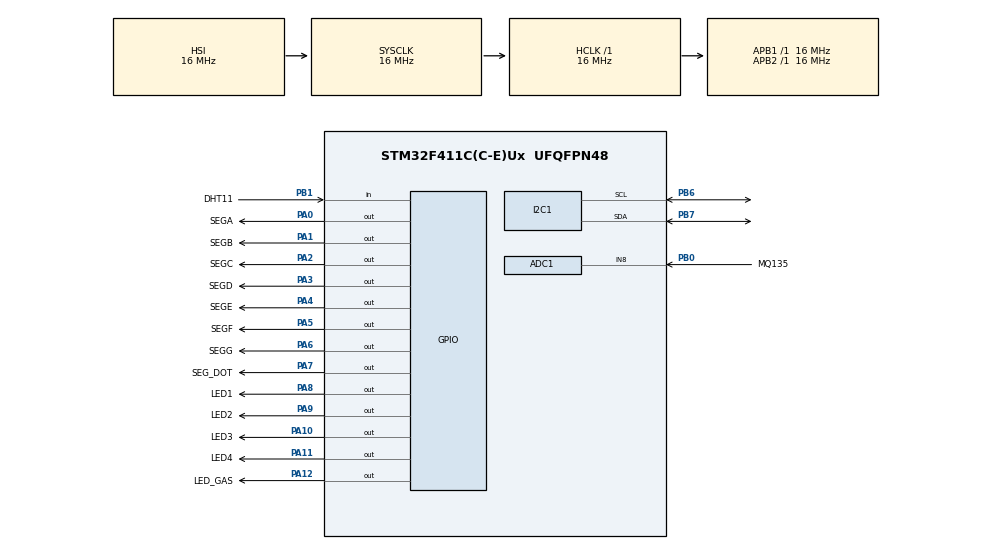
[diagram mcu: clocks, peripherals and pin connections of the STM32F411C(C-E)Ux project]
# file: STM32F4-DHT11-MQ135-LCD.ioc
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Mcu.Family=STM32F4
RCC.CortexFreq_Value=16000000
ADC1.ContinuousConvMode=ENABLE
ADC1.SamplingTime-6\#ChannelRegularConversion=ADC_SAMPLETIME_3CYCLES
PA6.GPIO_Label=SEGG
PB0.GPIO_Label=MQ135
ProjectManager.StackSize=0x400
PA12.Signal=GPIO_Output
TIM3.Period=62999
PB6.Signal=I2C1_SCL
PB6.Mode=I2C
RCC.AHBFreq_Value=16000000
RCC.HSE_VALUE=25000000
ADC1.Channel-6\#ChannelRegularConversion=ADC_CHANNEL_8
PA14.Mode=Serial_Wire
TIM3.Prescaler=62999
PB1.GPIO_Label=DHT11
NVIC.TIM2_IRQn=true\:0\:0\:false\:false\:true\:true\:true
PA10.GPIO_Label=LED3
SH.ADCx_IN8.0=ADC1_IN8,IN8
PB7.Signal=I2C1_SDA
PA8.Signal=GPIO_Output
Mcu.Package=UFQFPN48
TIM2.Prescaler=15999
PA6.Signal=GPIO_Output
PB1.Signal=GPIO_Input
PA2.GPIO_Label=SEGC
PA10.Signal=GPIO_Output
RCC.APB1TimFreq_Value=16000000
ADC1.Rank-6\#ChannelRegularConversion=1
PA4.GPIO_Label=SEGE
VP_TIM3_VS_ClockSourceINT.Mode=Internal
PA3.Signal=GPIO_Output
PA9.GPIO_Label=LED2
PA11.GPIO_Label=LED4
PA12.GPIO_Label=LED_GAS
PA0-WKUP.GPIO_Label=SEGA
PA0-WKUP.Signal=GPIO_Output
PA13.Signal=SYS_JTMS-SWDIO
PA8.GPIO_Label=LED1
ProjectManager.TargetToolchain=STM32CubeIDE
PA9.Signal=GPIO_Output
RCC.LSE_VALUE=32768
PA1.Signal=GPIO_Output
PA5.Signal=GPIO_Output
board=custom
RCC.VCOOutputFreq_Value=192000000
NVIC.TIM3_IRQn=true\:0\:0\:false\:false\:true\:true\:true
RCC.APB2Freq_Value=16000000
VP_TIM2_VS_ClockSourceINT.Mode=Internal
PA1.GPIO_Label=SEGB
TIM2.Period=999999999
PA13.Mode=Serial_Wire
Mcu.Name=STM32F411C(C-E)Ux
PA2.Signal=GPIO_Output
PA4.Signal=GPIO_Output
RCC.SYSCLKFreq_VALUE=16000000
PA7.GPIO_Label=SEG_DOT
ADC1.master=1
PA5.GPIO_Label=SEGF
PB7.Mode=I2C
PA11.Signal=GPIO_Output
PA14.Signal=SYS_JTCK-SWCLK
ProjectManager.HeapSize=0x200
RCC.HSI_VALUE=16000000
NVIC.PriorityGroup=NVIC_PRIORITYGROUP_4
ADC1.NbrOfConversionFlag=1
RCC.APB1Freq_Value=16000000
PB0.Signal=ADCx_IN8
PA3.GPIO_Label=SEGD
PA7.Signal=GPIO_Output

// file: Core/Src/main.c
/* USER CODE BEGIN Header */
/**
  ******************************************************************************
  * @file           : main.c
  * @brief          : Main program body
  ******************************************************************************
  * @attention
  *
  * <h2><center>&copy; Copyright (c) 2021 STMicroelectronics.
  * All rights reserved.</center></h2>
  *
  * This software component is licensed by ST under BSD 3-Clause license,
  * the "License"; You may not use this file except in compliance with the
  * License. You may obtain a copy of the License at:
  *                        opensource.org/licenses/BSD-3-Clause
  *
  ******************************************************************************
  */
/* USER CODE END Header */
#include "main.h"

/* USER CODE BEGIN Includes */
#include "stdio.h"
/* USER CODE END Includes */

/* USER CODE BEGIN PD */
/***************************** LCD i2c ***************************************/
/* LCD control pins */
#define PIN_RS                 (1 << 0)
#define PIN_EN                 (1 << 2)
#define BACKLIGHT              (1 << 3)
/* I2C Module Address, this is Hardware dependent */
#define I2C_SLAVE_ADDRESS      0x4E
/*LCD Commands*/
#define LCD_FUNCTION_SET1      0x33
#define LCD_FUNCTION_SET2      0x32
#define LCD_4BIT_2LINE_MODE    0x28
#define LCD_DISP_CURS_ON       0x0E
#define LCD_DISP_ON_CURS_OFF   0x0C  //Display on, cursor off
#define LCD_DISPLAY_OFF        0x08
#define LCD_DISPLAY_ON         0x04
#define LCD_CLEAR_DISPLAY      0x01
#define LCD_ENTRY_MODE_SET     0x04
#define LCD_INCREMENT_CURSER   0x06
#define LCD_SET_ROW1_COL1      0x80  //Force cursor to beginning ( 1st line)
#define LCD_SET_ROW2_COL1      0xC0  //Force cursor to beginning ( 2nd line)
#define LCD_MOVE_DISPLAY_LEFT  0x18
#define LCD_MOVE_DISPLAY_RIGHT 0x1C
/***************************** LCD i2c ***************************************/
/* USER CODE END PD */

/* USER CODE BEGIN PM */
/***************************** template ***************************************/
/***************************** template ***************************************/
/* USER CODE END PM */

ADC_HandleTypeDef hadc1;

I2C_HandleTypeDef hi2c1;

TIM_HandleTypeDef htim2;
TIM_HandleTypeDef htim3;

/* USER CODE BEGIN PV */
/***************************** delay ***************************************/
uint16_t usDelayTime = 0;
/***************************** delay ***************************************/
/***************************** DHT11 ***************************************/
uint8_t DHT11_RhByte1;
uint8_t DHT11_RhByte2;
uint8_t DHT11_TempByte1;
uint8_t DHT11_TempByte2;
uint16_t DHT11_Sum;
uint16_t DHT11_Temperature=0;
uint16_t DHT11_Humidity=0;
uint8_t Presence=0;
/***************************** DHT11 ***************************************/

/* USER CODE END PV */

void SystemClock_Config(void);
static void MX_GPIO_Init(void);
static void MX_ADC1_Init(void);
static void MX_I2C1_Init(void);
static void MX_TIM2_Init(void);
static void MX_TIM3_Init(void);

/* USER CODE BEGIN 0 */
/***************************** TIMER ***************************************/
void HAL_TIM_PeriodElapsedCallback(TIM_HandleTypeDef *htim)
{
	if (htim->Instance == TIM2)
	{
		usDelayTime++;
	}
}
/***************************** TIMER ***************************************/

/***************************** delay ***************************************/
void TIMER_DelayUs(uint32_t time)
{
	HAL_TIM_Base_Start_IT(&htim2);
	usDelayTime = 0;
	while(usDelayTime < time)
	{
		// do nothing
	}
	HAL_TIM_Base_Stop_IT(&htim2);
}
/***************************** delay ***************************************/

/***************************** DHT11 ***************************************/
// Chuyen pin DHT11 sang trang thai output
void Set_Pin_Output (GPIO_TypeDef *GPIOx, uint16_t GPIO_Pin)
{
	GPIO_InitTypeDef GPIO_InitStruct = {0};
	GPIO_InitStruct.Pin = GPIO_Pin;
	GPIO_InitStruct.Mode = GPIO_MODE_OUTPUT_PP;
	GPIO_InitStruct.Speed = GPIO_SPEED_FREQ_LOW;
	HAL_GPIO_Init(GPIOx, &GPIO_InitStruct);
}

// Chuyen pin DHT11 sang trang thai input
void Set_Pin_Input (GPIO_TypeDef *GPIOx, uint16_t GPIO_Pin)
{
	GPIO_InitTypeDef GPIO_InitStruct = {0};
	GPIO_InitStruct.Pin = GPIO_Pin;
	GPIO_InitStruct.Mode = GPIO_MODE_INPUT;
	GPIO_InitStruct.Pull = GPIO_PULLUP;
	HAL_GPIO_Init(GPIOx, &GPIO_InitStruct);
}

// Khoi tao giao tiep voi DHT11
void DHT11_Start(void)
{
	Set_Pin_Output(DHT11_GPIO_Port, DHT11_Pin);
	HAL_GPIO_WritePin(DHT11_GPIO_Port, DHT11_Pin, 0);
	TIMER_DelayUs(18000);   // wait for 18ms
	HAL_GPIO_WritePin (DHT11_GPIO_Port, DHT11_Pin, 1);   // pull the pin high
    TIMER_DelayUs(20);   // wait for 20us
	Set_Pin_Input(DHT11_GPIO_Port, DHT11_Pin);    // set as input
}

// Kiem tra phan hoi tu DHT11
uint8_t DHT11_CheckResponse(void)
{
	uint8_t response = 0;
	TIMER_DelayUs(40);
	if(!(HAL_GPIO_ReadPin(DHT11_GPIO_Port, DHT11_Pin)))
	{
		TIMER_DelayUs(80);
		if ((HAL_GPIO_ReadPin(DHT11_GPIO_Port, DHT11_Pin))) response = 1;
		else response = -1; // 255
	}
	while((HAL_GPIO_ReadPin(DHT11_GPIO_Port, DHT11_Pin)));   // wait for the pin to go low
	return response;
}

// Doc 1 byte tu DHT11
uint8_t DHT11_Read(void)
{
	uint8_t i,j;
	for (j=0;j<8;j++)
	{
		while (!(HAL_GPIO_ReadPin(DHT11_GPIO_Port, DHT11_Pin)));   // wait for the pin to go high
		TIMER_DelayUs(40);   // wait for 40 us
		if (!(HAL_GPIO_ReadPin(DHT11_GPIO_Port, DHT11_Pin)))   // if the pin is low
		{
			i&= ~(1<<(7-j));   // write 0
		}
		else i|= (1<<(7-j));  // if the pin is high, write 1
		while ((HAL_GPIO_ReadPin(DHT11_GPIO_Port, DHT11_Pin)));  // wait for the pin to go low
	}
	return i;
}
/***************************** DHT11 ***************************************/

/***************************** LCD1602 I2C ***************************************/
void LCD_Send_Cmd(uint8_t cmd)
{
	uint8_t data_u, data_l;
	uint8_t data_u_tx[2], data_l_tx[2];

	/*Store upper nibble*/
	data_u = (cmd & 0xF0);

	/*Store lower nibble*/
	data_l = ((cmd << 4) & 0xF0);

	/* Construct upper byte-> compatible for LCD*/
	data_u_tx[0] = data_u|BACKLIGHT|PIN_EN;
	data_u_tx[1] = data_u|BACKLIGHT;

	/* Construct lower byte-> compatible for LCD*/
	data_l_tx[0] = data_l|BACKLIGHT|PIN_EN;
	data_l_tx[1] = data_l|BACKLIGHT;

	/* Transmit upper nibble using I2C APIs*/
	if(HAL_I2C_IsDeviceReady(& hi2c1, I2C_SLAVE_ADDRESS, 1, 10) == HAL_OK)
		HAL_I2C_Master_Transmit(& hi2c1,I2C_SLAVE_ADDRESS, data_u_tx, 2, 100);

	/*Provide a delay */
	HAL_Delay(5);

	/* Transmit lower nibble using I2C APIs*/
	if(HAL_I2C_IsDeviceReady(& hi2c1, I2C_SLAVE_ADDRESS, 1, 10) == HAL_OK)
		HAL_I2C_Master_Transmit(& hi2c1,I2C_SLAVE_ADDRESS, data_l_tx, 2, 100);

	/*Provide a delay */
	HAL_Delay(5);
}

void LCD_Send_Data(uint8_t data)
{
	uint8_t data_u, data_l;
	uint8_t data_u_tx[2], data_l_tx[2];

	/*Store upper nibble*/
	data_u = (data & 0xF0);

	/*Store lower nibble*/
	data_l = ((data << 4) & 0xF0);

	/* Construct upper byte-> compatible for LCD*/
	data_u_tx[0] = data_u|BACKLIGHT|PIN_EN|PIN_RS;
	data_u_tx[1] = data_u|BACKLIGHT|PIN_RS;

	/* Construct lower byte-> compatible for LCD*/
	data_l_tx[0] = data_l|BACKLIGHT|PIN_EN|PIN_RS;
	data_l_tx[1] = data_l|BACKLIGHT|PIN_RS;

	/* Transmit upper nibble using I2C APIs*/
	if(HAL_I2C_IsDeviceReady(& hi2c1, I2C_SLAVE_ADDRESS, 1, 10) == HAL_OK)
		HAL_I2C_Master_Transmit(& hi2c1,I2C_SLAVE_ADDRESS, data_u_tx, 2, 100);

	/*Provide a delay */
	//HAL_Delay(1);

	/* Transmit lower nibble using I2C APIs*/
	if(HAL_I2C_IsDeviceReady(& hi2c1, I2C_SLAVE_ADDRESS, 1, 10) == HAL_OK)
		HAL_I2C_Master_Transmit(& hi2c1,I2C_SLAVE_ADDRESS, data_l_tx, 2, 100);

    /*Provide a delay */
    HAL_Delay(5);
}

void LCD_Init(void)
{

	/* Wait for 15ms */
	HAL_Delay(15);

	/*Function Set - As per HD44780U*/
	LCD_Send_Cmd(LCD_FUNCTION_SET1);

	/*Function Set -As per HD44780U*/
	LCD_Send_Cmd(LCD_FUNCTION_SET2);

	/*Set 4bit mode and 2 lines */
	LCD_Send_Cmd(LCD_4BIT_2LINE_MODE);

	/*Display on, cursor off*/
	LCD_Send_Cmd(0x0C);

	/* SET Row1 and Col1 (1st Line) */
	LCD_Send_Cmd(0x80);

	/*Clear Display*/
	LCD_Send_Cmd(LCD_CLEAR_DISPLAY);

}

void LCD_Send_String(char *str)
{
	while (*str)
	{
		LCD_Send_Data(*str++);
	}
}

// Hien thi thong tin nhiet do va do am len lcd
void LCD_Display(void)
{
	char tempString[4];
	LCD_Send_Cmd(LCD_CLEAR_DISPLAY);
	LCD_Send_Cmd(LCD_SET_ROW1_COL1);
	sprintf(tempString, "%u", DHT11_Temperature);
	LCD_Send_String("Temp: ");
	LCD_Send_String(tempString);
	LCD_Send_String("*C");
	LCD_Send_Cmd(LCD_SET_ROW2_COL1);
	sprintf(tempString, "%u", DHT11_Humidity);
	LCD_Send_String("Humid: ");
	LCD_Send_String(tempString);
	LCD_Send_String("%");
}

/***************************** LCD1602 I2C ***************************************/

/***************************** MQ135 ***************************************/
/***************************** MQ135 ***************************************/

/***************************** LED 7 THANH ***************************************/
/***************************** LED 7 THANH ***************************************/

/* USER CODE END 0 */

int main(void)
{

  /* MCU Configuration--------------------------------------------------------*/

  /* Reset of all peripherals, Initializes the Flash interface and the Systick. */
  HAL_Init();

  /* Configure the system clock */
  SystemClock_Config();

  /* Initialize all configured peripherals */
  MX_GPIO_Init();
  MX_ADC1_Init();
  MX_I2C1_Init();
  MX_TIM2_Init();
  MX_TIM3_Init();
  /* USER CODE BEGIN 2 */
//  LCD_Init();
  /* USER CODE END 2 */

  /* Infinite loop */
  /* USER CODE BEGIN WHILE */
  while (1)
  {
	  // Doc cam bien DHT11
//	  DHT11_Start();
//	  Presence = DHT11_CheckResponse();
//	  DHT11_RhByte1=DHT11_Read();
//	  DHT11_RhByte2 = DHT11_Read();
//	  DHT11_TempByte1 = DHT11_Read();
//	  DHT11_TempByte2 = DHT11_Read();
//	  DHT11_Sum = DHT11_Read();
//	  DHT11_Temperature = DHT11_TempByte1;
//	  DHT11_Humidity = DHT11_RhByte1;
	  //  Hien thi lcd i2c
//	  LCD_Display();
	  HAL_GPIO_WritePin(LED_GAS_GPIO_Port, LED_GAS_Pin, GPIO_PIN_RESET);
	  HAL_Delay(1000);
	  HAL_GPIO_WritePin(LED_GAS_GPIO_Port, LED_GAS_Pin, GPIO_PIN_SET);
	  HAL_Delay(1000);
    /* USER CODE END WHILE */

  }
}

void SystemClock_Config(void)
{
  RCC_OscInitTypeDef RCC_OscInitStruct = {0};
  RCC_ClkInitTypeDef RCC_ClkInitStruct = {0};

  /** Configure the main internal regulator output voltage
  */
  __HAL_RCC_PWR_CLK_ENABLE();
  __HAL_PWR_VOLTAGESCALING_CONFIG(PWR_REGULATOR_VOLTAGE_SCALE1);
  /** Initializes the RCC Oscillators according to the specified parameters
  * in the RCC_OscInitTypeDef structure.
  */
  RCC_OscInitStruct.OscillatorType = RCC_OSCILLATORTYPE_HSI;
  RCC_OscInitStruct.HSIState = RCC_HSI_ON;
  RCC_OscInitStruct.HSICalibrationValue = RCC_HSICALIBRATION_DEFAULT;
  RCC_OscInitStruct.PLL.PLLState = RCC_PLL_NONE;
  if (HAL_RCC_OscConfig(&RCC_OscInitStruct) != HAL_OK)
  {
    Error_Handler();
  }
  /** Initializes the CPU, AHB and APB buses clocks
  */
  RCC_ClkInitStruct.ClockType = RCC_CLOCKTYPE_HCLK|RCC_CLOCKTYPE_SYSCLK
                              |RCC_CLOCKTYPE_PCLK1|RCC_CLOCKTYPE_PCLK2;
  RCC_ClkInitStruct.SYSCLKSource = RCC_SYSCLKSOURCE_HSI;
  RCC_ClkInitStruct.AHBCLKDivider = RCC_SYSCLK_DIV1;
  RCC_ClkInitStruct.APB1CLKDivider = RCC_HCLK_DIV1;
  RCC_ClkInitStruct.APB2CLKDivider = RCC_HCLK_DIV1;

  if (HAL_RCC_ClockConfig(&RCC_ClkInitStruct, FLASH_LATENCY_0) != HAL_OK)
  {
    Error_Handler();
  }
}

static void MX_ADC1_Init(void)
{

  ADC_ChannelConfTypeDef sConfig = {0};

  /** Configure the global features of the ADC (Clock, Resolution, Data Alignment and number of conversion)
  */
  hadc1.Instance = ADC1;
  hadc1.Init.ClockPrescaler = ADC_CLOCK_SYNC_PCLK_DIV2;
  hadc1.Init.Resolution = ADC_RESOLUTION_12B;
  hadc1.Init.ScanConvMode = DISABLE;
  hadc1.Init.ContinuousConvMode = ENABLE;
  hadc1.Init.DiscontinuousConvMode = DISABLE;
  hadc1.Init.ExternalTrigConvEdge = ADC_EXTERNALTRIGCONVEDGE_NONE;
  hadc1.Init.ExternalTrigConv = ADC_SOFTWARE_START;
  hadc1.Init.DataAlign = ADC_DATAALIGN_RIGHT;
  hadc1.Init.NbrOfConversion = 1;
  hadc1.Init.DMAContinuousRequests = DISABLE;
  hadc1.Init.EOCSelection = ADC_EOC_SINGLE_CONV;
  if (HAL_ADC_Init(&hadc1) != HAL_OK)
  {
    Error_Handler();
  }
  /** Configure for the selected ADC regular channel its corresponding rank in the sequencer and its sample time.
  */
  sConfig.Channel = ADC_CHANNEL_8;
  sConfig.Rank = 1;
  sConfig.SamplingTime = ADC_SAMPLETIME_3CYCLES;
  if (HAL_ADC_ConfigChannel(&hadc1, &sConfig) != HAL_OK)
  {
    Error_Handler();
  }

}

static void MX_I2C1_Init(void)
{

  hi2c1.Instance = I2C1;
  hi2c1.Init.ClockSpeed = 100000;
  hi2c1.Init.DutyCycle = I2C_DUTYCYCLE_2;
  hi2c1.Init.OwnAddress1 = 0;
  hi2c1.Init.AddressingMode = I2C_ADDRESSINGMODE_7BIT;
  hi2c1.Init.DualAddressMode = I2C_DUALADDRESS_DISABLE;
  hi2c1.Init.OwnAddress2 = 0;
  hi2c1.Init.GeneralCallMode = I2C_GENERALCALL_DISABLE;
  hi2c1.Init.NoStretchMode = I2C_NOSTRETCH_DISABLE;
  if (HAL_I2C_Init(&hi2c1) != HAL_OK)
  {
    Error_Handler();
  }

}

static void MX_TIM2_Init(void)
{

  TIM_ClockConfigTypeDef sClockSourceConfig = {0};
  TIM_MasterConfigTypeDef sMasterConfig = {0};

  htim2.Instance = TIM2;
  htim2.Init.Prescaler = 15999;
  htim2.Init.CounterMode = TIM_COUNTERMODE_UP;
  htim2.Init.Period = 999999999;
  htim2.Init.ClockDivision = TIM_CLOCKDIVISION_DIV1;
  htim2.Init.AutoReloadPreload = TIM_AUTORELOAD_PRELOAD_DISABLE;
  if (HAL_TIM_Base_Init(&htim2) != HAL_OK)
  {
    Error_Handler();
  }
  sClockSourceConfig.ClockSource = TIM_CLOCKSOURCE_INTERNAL;
  if (HAL_TIM_ConfigClockSource(&htim2, &sClockSourceConfig) != HAL_OK)
  {
    Error_Handler();
  }
  sMasterConfig.MasterOutputTrigger = TIM_TRGO_RESET;
  sMasterConfig.MasterSlaveMode = TIM_MASTERSLAVEMODE_DISABLE;
  if (HAL_TIMEx_MasterConfigSynchronization(&htim2, &sMasterConfig) != HAL_OK)
  {
    Error_Handler();
  }

}

static void MX_TIM3_Init(void)
{

  TIM_ClockConfigTypeDef sClockSourceConfig = {0};
  TIM_MasterConfigTypeDef sMasterConfig = {0};

  htim3.Instance = TIM3;
  htim3.Init.Prescaler = 62999;
  htim3.Init.CounterMode = TIM_COUNTERMODE_UP;
  htim3.Init.Period = 62999;
  htim3.Init.ClockDivision = TIM_CLOCKDIVISION_DIV1;
  htim3.Init.AutoReloadPreload = TIM_AUTORELOAD_PRELOAD_DISABLE;
  if (HAL_TIM_Base_Init(&htim3) != HAL_OK)
  {
    Error_Handler();
  }
  sClockSourceConfig.ClockSource = TIM_CLOCKSOURCE_INTERNAL;
  if (HAL_TIM_ConfigClockSource(&htim3, &sClockSourceConfig) != HAL_OK)
  {
    Error_Handler();
  }
  sMasterConfig.MasterOutputTrigger = TIM_TRGO_RESET;
  sMasterConfig.MasterSlaveMode = TIM_MASTERSLAVEMODE_DISABLE;
  if (HAL_TIMEx_MasterConfigSynchronization(&htim3, &sMasterConfig) != HAL_OK)
  {
    Error_Handler();
  }

}

static void MX_GPIO_Init(void)
{
  GPIO_InitTypeDef GPIO_InitStruct = {0};

  /* GPIO Ports Clock Enable */
  __HAL_RCC_GPIOA_CLK_ENABLE();
  __HAL_RCC_GPIOB_CLK_ENABLE();

  /*Configure GPIO pin Output Level */
  HAL_GPIO_WritePin(GPIOA, SEGA_Pin|SEGB_Pin|SEGC_Pin|SEGD_Pin
                          |SEGE_Pin|SEGF_Pin|SEGG_Pin|SEG_DOT_Pin
                          |LED1_Pin|LED2_Pin|LED3_Pin|LED4_Pin
                          |LED_GAS_Pin, GPIO_PIN_RESET);

  /*Configure GPIO pins : SEGA_Pin SEGB_Pin SEGC_Pin SEGD_Pin
                           SEGE_Pin SEGF_Pin SEGG_Pin SEG_DOT_Pin
                           LED1_Pin LED2_Pin LED3_Pin LED4_Pin
                           LED_GAS_Pin */
  GPIO_InitStruct.Pin = SEGA_Pin|SEGB_Pin|SEGC_Pin|SEGD_Pin
                          |SEGE_Pin|SEGF_Pin|SEGG_Pin|SEG_DOT_Pin
                          |LED1_Pin|LED2_Pin|LED3_Pin|LED4_Pin
                          |LED_GAS_Pin;
  GPIO_InitStruct.Mode = GPIO_MODE_OUTPUT_PP;
  GPIO_InitStruct.Pull = GPIO_NOPULL;
  GPIO_InitStruct.Speed = GPIO_SPEED_FREQ_LOW;
  HAL_GPIO_Init(GPIOA, &GPIO_InitStruct);

  /*Configure GPIO pin : DHT11_Pin */
  GPIO_InitStruct.Pin = DHT11_Pin;
  GPIO_InitStruct.Mode = GPIO_MODE_INPUT;
  GPIO_InitStruct.Pull = GPIO_NOPULL;
  HAL_GPIO_Init(DHT11_GPIO_Port, &GPIO_InitStruct);

}

void Error_Handler(void)
{
  __disable_irq();
  while (1)
  {
  }
}

/************************ (C) COPYRIGHT STMicroelectronics *****END OF FILE****/
